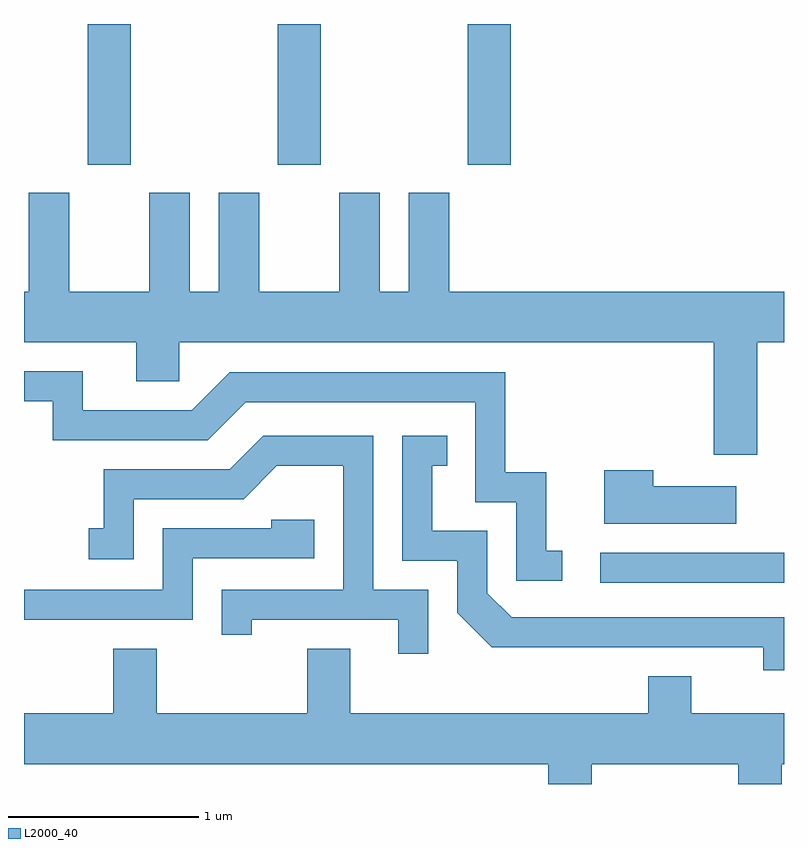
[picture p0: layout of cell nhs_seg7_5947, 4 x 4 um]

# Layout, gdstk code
import gdstk
lib = gdstk.Library(unit=1e-6, precision=1e-09)
def R(c, l, rs):  # rectangles x0, y0, x1, y1
    for r in rs: c.add(gdstk.rectangle(r[:2], r[2:], *l))
def A(c, l, x, y, w, h, nx, ny, dx, dy):  # array of equal rectangles
    R(c, l, [(x+i*dx, y+j*dy, x+i*dx+w, y+j*dy+h) for i in range(nx) for j in range(ny)])
def P(c, l, *ps):  # polygons
    for p in ps: c.add(gdstk.Polygon(p, *l))
L2000_40 = (2000, 40)

nhs_seg7_5947 = lib.new_cell('nhs_seg7_5947')
A(nhs_seg7_5947, L2000_40, 367.946, 1677.511, 0.228, 0.741, 3, 1, 1, 0)
R(nhs_seg7_5947, L2000_40, [(370.643,1675.311,371.611,1675.469)])
P(nhs_seg7_5947, L2000_40, [(371.469,1676.576),(371.611,1676.576),(371.611,1676.844),(369.849,1676.844),(369.849,1677.364),(369.636,1677.364),(369.636,1676.844),(369.484,1676.844),(369.484,1677.364),(369.271,1677.364),(369.271,1676.844),(368.849,1676.844),(368.849,1677.364),(368.636,1677.364),(368.636,1676.844),(368.484,1676.844),(368.484,1677.364),(368.271,1677.364),(368.271,1676.844),(367.849,1676.844),(367.849,1677.364),(367.636,1677.364),(367.636,1676.844),(367.611,1676.844),(367.611,1676.576),(368.201,1676.576),(368.201,1676.371),(368.429,1676.371),(368.429,1676.576),(371.241,1676.576),(371.241,1675.986),(371.469,1675.986)],
  [(370.443,1675.479),(370.359,1675.479),(370.359,1675.894),(370.144,1675.894),(370.144,1676.419),(368.694,1676.419),(368.494,1676.219),(367.919,1676.219),(367.919,1676.424),(367.611,1676.424),(367.611,1676.266),(367.761,1676.266),(367.761,1676.061),(368.577,1676.061),(368.777,1676.261),(369.986,1676.261),(369.986,1675.736),(370.201,1675.736),(370.201,1675.321),(370.443,1675.321)],
  [(371.611,1675.129),(370.177,1675.129),(370.049,1675.257),(370.049,1675.584),(369.759,1675.584),(369.759,1675.926),(369.838,1675.926),(369.838,1676.084),(369.601,1676.084),(369.601,1675.426),(369.891,1675.426),(369.891,1675.154),(370.074,1674.971),(371.501,1674.971),(371.501,1674.851),(371.611,1674.851)],
  [(369.739,1675.274),(369.449,1675.274),(369.449,1676.084),(368.869,1676.084),(368.694,1675.909),(368.031,1675.909),(368.031,1675.599),(367.953,1675.599),(367.953,1675.436),(368.189,1675.436),(368.189,1675.751),(368.767,1675.751),(368.942,1675.926),(369.291,1675.926),(369.291,1675.274),(368.651,1675.274),(368.651,1675.038),(368.809,1675.038),(368.809,1675.116),(369.581,1675.116),(369.581,1674.938),(369.739,1674.938)],
  [(371.359,1675.819),(370.924,1675.819),(370.924,1675.904),(370.666,1675.904),(370.666,1675.621),(371.359,1675.621)],
  [(368.499,1675.441),(369.139,1675.441),(369.139,1675.644),(368.911,1675.644),(368.911,1675.599),(368.341,1675.599),(368.341,1675.274),(367.611,1675.274),(367.611,1675.116),(368.499,1675.116)],
  [(370.599,1674.356),(371.371,1674.356),(371.371,1674.252),(371.599,1674.252),(371.599,1674.356),(371.611,1674.356),(371.611,1674.624),(371.124,1674.624),(371.124,1674.819),(370.896,1674.819),(370.896,1674.624),(369.329,1674.624),(369.329,1674.964),(369.101,1674.964),(369.101,1674.624),(368.309,1674.624),(368.309,1674.964),(368.081,1674.964),(368.081,1674.624),(367.611,1674.624),(367.611,1674.356),(370.371,1674.356),(370.371,1674.252),(370.599,1674.252)])

lib.write_gds('nhs_seg7_5947.gds')
